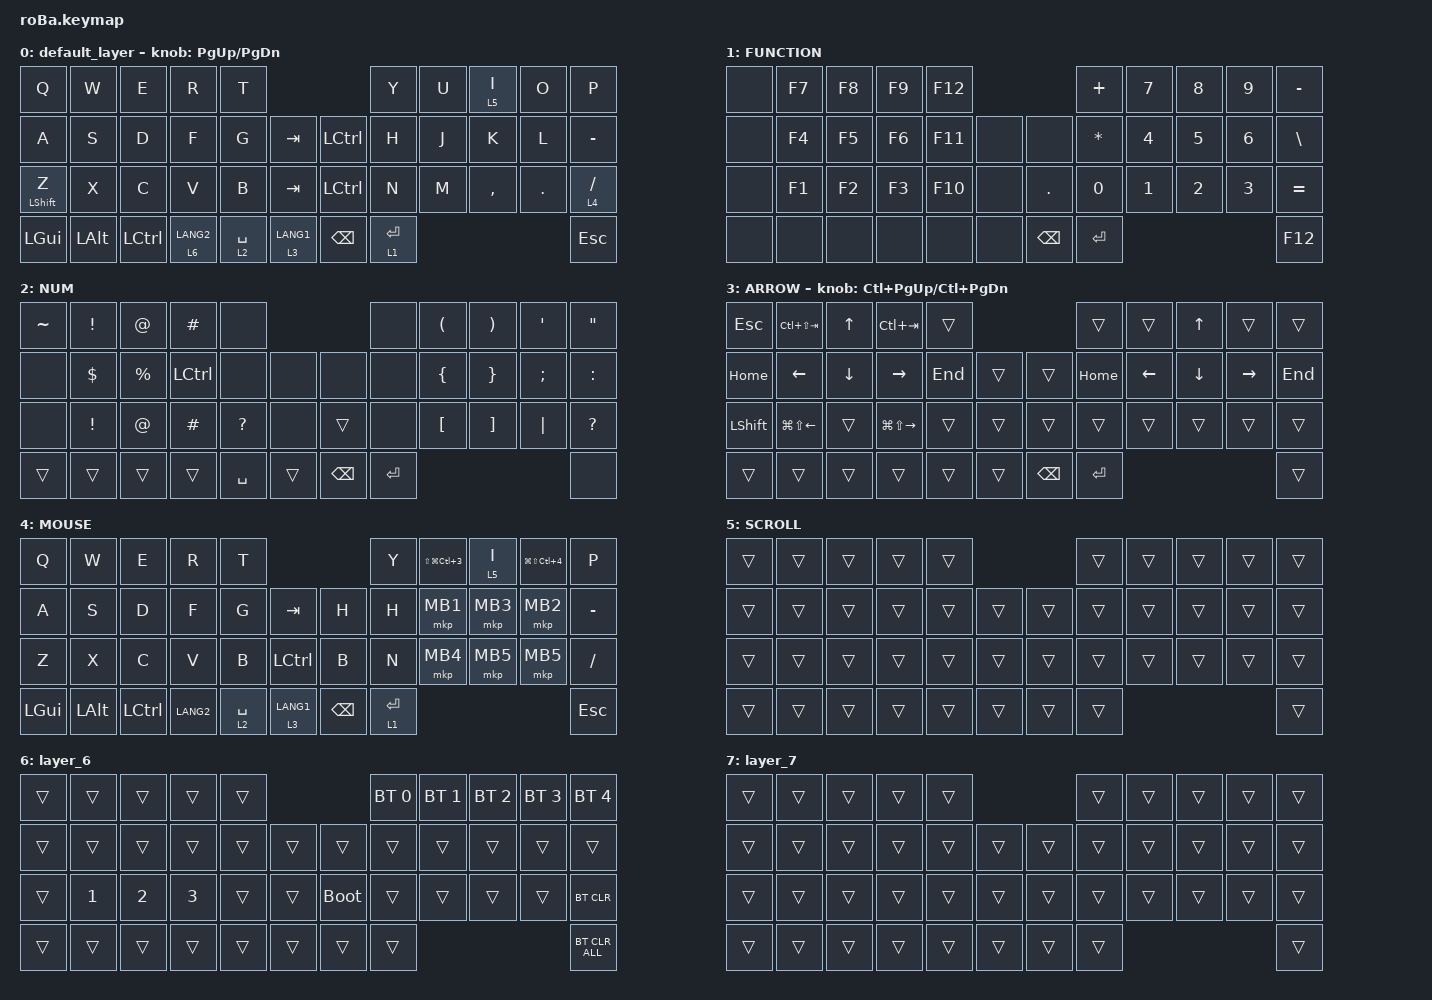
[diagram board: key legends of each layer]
#include <behaviors.dtsi>
#include <dt-bindings/zmk/bt.h>
#include <dt-bindings/zmk/keys.h>
#include <dt-bindings/zmk/pointing.h>

#define SCROLL 5
#define NUM 6

&mt {
    flavor = "balanced";
    quick-tap-ms = <0>;
};

/ {
    combos {
        compatible = "zmk,combos";

        tab {
            bindings = <&kp TAB>;
            key-positions = <11 12>;
        };

        shift_tab {
            bindings = <&kp LS(TAB)>;
            key-positions = <12 13>;
        };

        muhennkann {
            bindings = <&to_layer_0 INT_MUHENKAN>;
            key-positions = <11 10>;
        };

        double_quotation {
            bindings = <&kp DOUBLE_QUOTES>;
            key-positions = <20 21>;
        };

        eq {
            bindings = <&kp EQUAL>;
            key-positions = <24 25>;
        };
    };

    macros {
        to_layer_0: to_layer_0 {
            compatible = "zmk,behavior-macro-one-param";
            #binding-cells = <1>;
            bindings = <&to 0 &macro_param_1to1 &kp MACRO_PLACEHOLDER>;
            label = "TO_LAYER_0";
        };
    };

    behaviors {
        lt_to_layer_0: lt_to_layer_0 {
            compatible = "zmk,behavior-hold-tap";
            label = "LAYER_TAP_TO_0";
            bindings = <&mo>, <&to_layer_0>;

            #binding-cells = <2>;
            tapping-term-ms = <200>;
        };
    };

    keymap {
        compatible = "zmk,keymap";

        default_layer {
            bindings = <
&kp Q             &kp W         &kp E      &kp R                   &kp T                                           &kp Y        &kp U  &lt 5 I    &kp O    &kp P
&kp A             &kp S         &kp D      &kp F                   &kp G        &kp TAB          &kp LEFT_CONTROL  &kp H        &kp J  &kp K      &kp L    &kp MINUS
&mt LEFT_SHIFT Z  &kp X         &kp C      &kp V                   &kp B        &kp TAB          &kp LEFT_CONTROL  &kp N        &kp M  &kp COMMA  &kp DOT  &lt 4 SLASH
&kp LGUI          &kp LEFT_ALT  &kp LCTRL  &lt_to_layer_0 6 LANG2  &lt 2 SPACE  &lt 3 LANG1      &kp BACKSPACE     &lt 1 ENTER                             &kp ESCAPE
            >;

            sensor-bindings = <&inc_dec_kp PG_UP PAGE_DOWN>;
        };

        FUNCTION {
            bindings = <
&none  &kp F7  &kp F8  &kp F9  &kp F12                            &kp PLUS      &kp N7  &kp N8  &kp N9  &kp MINUS
&none  &kp F4  &kp F5  &kp F6  &kp F11  &none      &none          &kp ASTERISK  &kp N4  &kp N5  &kp N6  &kp BSLH
&none  &kp F1  &kp F2  &kp F3  &kp F10  &none      &kp DOT        &kp N0        &kp N1  &kp N2  &kp N3  &kp EQUAL
&none  &none   &none   &none   &none    &none      &kp BACKSPACE  &kp ENTER                             &kp F12
            >;
        };

        NUM {
            bindings = <
&kp TILDE  &kp EXCLAMATION  &kp AT_SIGN  &kp HASH   &none                                    &none      &kp LEFT_PARENTHESIS  &kp RIGHT_PARENTHESIS  &kp SQT   &kp DQT
&none      &kp DOLLAR       &kp PERCENT  &kp LCTRL  &none         &none       &none          &none      &kp LEFT_BRACE        &kp RIGHT_BRACE        &kp SEMI  &kp COLON
&none      &kp EXCLAMATION  &kp AT_SIGN  &kp HASH   &kp QUESTION  &none       &trans         &none      &kp LEFT_BRACKET      &kp RIGHT_BRACKET      &kp PIPE  &kp QUESTION
&trans     &trans           &trans       &trans     &kp SPACE     &trans      &kp BACKSPACE  &kp ENTER                                                         &none
            >;
        };

        ARROW {
            bindings = <
&kp ESCAPE      &kp LC(LS(TAB))         &kp UP_ARROW    &kp LC(TAB)              &trans                              &trans     &trans          &kp UP_ARROW    &trans           &trans
&kp HOME        &kp LEFT_ARROW          &kp DOWN_ARROW  &kp RIGHT_ARROW          &kp END  &trans      &trans         &kp HOME   &kp LEFT_ARROW  &kp DOWN_ARROW  &kp RIGHT_ARROW  &kp END
&kp LEFT_SHIFT  &kp LG(LS(LEFT_ARROW))  &trans          &kp LG(LS(RIGHT_ARROW))  &trans   &trans      &trans         &trans     &trans          &trans          &trans           &trans
&trans          &trans                  &trans          &trans                   &trans   &trans      &kp BACKSPACE  &kp ENTER                                                   &trans
            >;

            sensor-bindings = <&inc_dec_kp LC(PAGE_UP) LC(PAGE_DOWN)>;
        };

        MOUSE {
            bindings = <
&kp Q     &kp W     &kp E      &kp R      &kp T                                        &kp Y        &kp LS(LG(LC(NUMBER_3)))  &lt 5 I   &kp LG(LS(LC(NUMBER_4)))  &kp P
&kp A     &kp S     &kp D      &kp F      &kp G        &kp TAB          &kp H          &kp H        &mkp MB1                  &mkp MB3  &mkp MB2                  &kp MINUS
&kp Z     &kp X     &kp C      &kp V      &kp B        &kp LCTRL        &kp B          &kp N        &mkp MB4                  &mkp MB5  &mkp MB5                  &kp FSLH
&kp LGUI  &kp LALT  &kp LCTRL  &kp LANG2  &lt 2 SPACE  &lt 3 LANG1      &kp BACKSPACE  &lt 1 ENTER                                                                &kp ESC
            >;
        };

        SCROLL {
            bindings = <
&trans  &trans  &trans  &trans  &trans                      &trans  &trans  &trans  &trans  &trans
&trans  &trans  &trans  &trans  &trans  &trans      &trans  &trans  &trans  &trans  &trans  &trans
&trans  &trans  &trans  &trans  &trans  &trans      &trans  &trans  &trans  &trans  &trans  &trans
&trans  &trans  &trans  &trans  &trans  &trans      &trans  &trans                          &trans
            >;
        };

        layer_6 {
            bindings = <
&trans  &trans        &trans        &trans        &trans                           &bt BT_SEL 0  &bt BT_SEL 1  &bt BT_SEL 2  &bt BT_SEL 3  &bt BT_SEL 4
&trans  &trans        &trans        &trans        &trans  &trans      &trans       &trans        &trans        &trans        &trans        &trans
&trans  &kp NUMBER_1  &kp NUMBER_2  &kp NUMBER_3  &trans  &trans      &bootloader  &trans        &trans        &trans        &trans        &bt BT_CLR
&trans  &trans        &trans        &trans        &trans  &trans      &trans       &trans                                                  &bt BT_CLR_ALL
            >;
        };

        layer_7 {
            bindings = <
&trans  &trans  &trans  &trans  &trans                      &trans  &trans  &trans  &trans  &trans
&trans  &trans  &trans  &trans  &trans  &trans      &trans  &trans  &trans  &trans  &trans  &trans
&trans  &trans  &trans  &trans  &trans  &trans      &trans  &trans  &trans  &trans  &trans  &trans
&trans  &trans  &trans  &trans  &trans  &trans      &trans  &trans                          &trans
            >;
        };
    };
};
